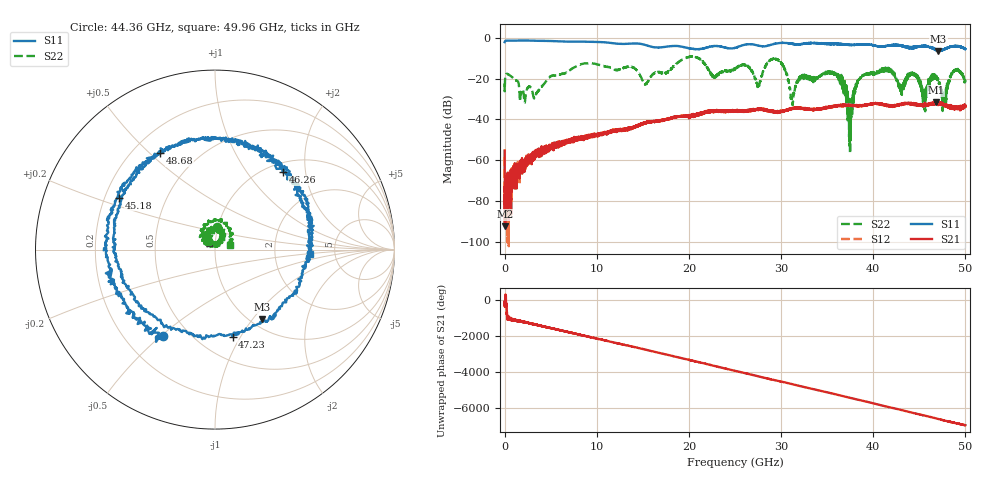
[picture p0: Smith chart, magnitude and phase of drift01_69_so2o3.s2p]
!Created with skrf (http://scikit-rf.org).
# Hz S RI R 50.0
!freq ReS11 ImS11 ReS21 ImS21 ReS12 ImS12 ReS22 ImS22
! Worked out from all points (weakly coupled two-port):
!   10001 points, 300 kHz to 50 GHz, reference 50 ohm
!   highest |S21| = -31.54 dB at 46.81 GHz (marker M1); lowest = -92.2 dB at 25.3 MHz (marker M2)
!   lowest |S11| = -6.6 dB at 47.07 GHz (marker M3), VSWR 2.75, Z = 56.1 - j55.6 ohm
!   |S11| at or under -10 dB: nowhere
!   |S22| runs from -56.7 to -9.2 dB; largest |S21 - S12| = 0.0036
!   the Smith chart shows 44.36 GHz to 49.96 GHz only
!   S11 on the Smith chart (normalised r, x): 44.36 GHz: 0.36, -0.51; 45.18 GHz: 0.26, +0.24; 46.26 GHz: 1.17, +1.51; 47.23 GHz: 0.72, -0.93; 48.68 GHz: 0.31, +0.54; 49.96 GHz: 3.25, -0.21
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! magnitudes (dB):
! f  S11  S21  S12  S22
! 300 kHz  -2.2  -55.2  -58.2  -22.5
! 25.3 MHz  -1.9  -92.2  -76.7  -23.1
! 3.295 GHz  -1.5  -55.8  -57.9  -28.6
! 8.335 GHz  -1.9  -48.6  -49.1  -12.9
! 16.67 GHz  -4.8  -40.6  -40.6  -16.7
! 25 GHz  -5.0  -35.8  -35.7  -15.2
! 29.58 GHz  -2.8  -36.3  -36.2  -10.7
! 31.23 GHz  -3.0  -34.6  -34.8  -32.0
! 33.34 GHz  -2.6  -35.2  -35.3  -20.2
! 36.14 GHz  -3.1  -33.4  -33.3  -18.8
! 37.47 GHz  -3.6  -33.3  -32.9  -41.1
! 38.65 GHz  -3.3  -33.2  -33.1  -19.5
! 41.67 GHz  -3.9  -32.8  -33.3  -16.7
! 44.36 GHz  -5.0  -32.6  -32.3  -17.8
! 45.18 GHz  -4.3  -33.2  -33.0  -23.8
! 46.26 GHz  -4.8  -32.2  -32.4  -20.6
! 46.81 GHz  -6.1  -31.5  -31.7  -18.6
! 47.07 GHz  -6.6  -31.7  -32.4  -20.8
! 47.23 GHz  -6.1  -32.0  -32.3  -22.7
! 48.68 GHz  -4.2  -34.3  -34.1  -16.4
! 49.96 GHz  -5.5  -33.1  -33.5  -21.0
! 50 GHz  -5.6  -33.7  -34.0  -21.4
